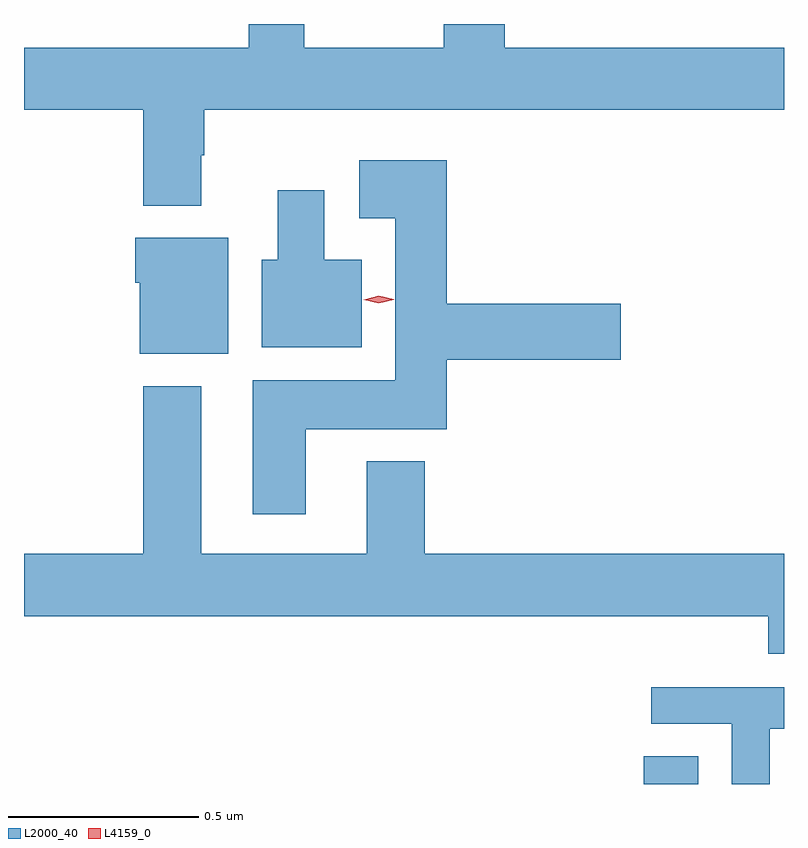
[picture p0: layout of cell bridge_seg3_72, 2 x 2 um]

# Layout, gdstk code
import gdstk
lib = gdstk.Library(unit=1e-6, precision=1e-09)
def R(c, l, rs):  # rectangles x0, y0, x1, y1
    for r in rs: c.add(gdstk.rectangle(r[:2], r[2:], *l))
def P(c, l, *ps):  # polygons
    for p in ps: c.add(gdstk.Polygon(p, *l))
L2000_40 = (2000, 40)
L4159_0 = (4159, 0)

bridge_seg3_72 = lib.new_cell('bridge_seg3_72')
R(bridge_seg3_72, L2000_40, [(376.472,681.826,376.615,681.899)])
P(bridge_seg3_72, L2000_40, [(375.307,683.48),(375.315,683.48),(375.315,683.6),(376.841,683.6),(376.841,683.764),(376.106,683.764),(376.106,683.826),(375.946,683.826),(375.946,683.764),(375.579,683.764),(375.579,683.826),(375.432,683.826),(375.432,683.764),(374.841,683.764),(374.841,683.6),(375.155,683.6),(375.155,683.348),(375.307,683.348)],
  [(375.583,682.76),(375.953,682.76),(375.953,682.943),(376.411,682.943),(376.411,683.09),(375.953,683.09),(375.953,683.467),(375.723,683.467),(375.723,683.315),(375.818,683.315),(375.818,682.888),(375.443,682.888),(375.443,682.536),(375.583,682.536)],
  [(375.73,683.206),(375.631,683.206),(375.631,683.389),(375.509,683.389),(375.509,683.206),(375.467,683.206),(375.467,682.976),(375.73,682.976)],
  [(375.379,683.263),(375.134,683.263),(375.134,683.145),(375.146,683.145),(375.146,682.958),(375.379,682.958)],
  [(376.841,682.432),(375.896,682.432),(375.896,682.675),(375.743,682.675),(375.743,682.432),(375.307,682.432),(375.307,682.873),(375.155,682.873),(375.155,682.432),(374.841,682.432),(374.841,682.268),(376.799,682.268),(376.799,682.169),(376.841,682.169)],
  [(376.803,681.972),(376.841,681.972),(376.841,682.08),(376.491,682.08),(376.491,681.984),(376.704,681.984),(376.704,681.826),(376.803,681.826)])
P(bridge_seg3_72, L4159_0, [(375.775,683.091),(375.735,683.101),(375.735,683.101),(375.735,683.101),(375.774,683.111),(375.814,683.102),(375.814,683.101),(375.814,683.101)])

lib.write_gds('bridge_seg3_72.gds')
